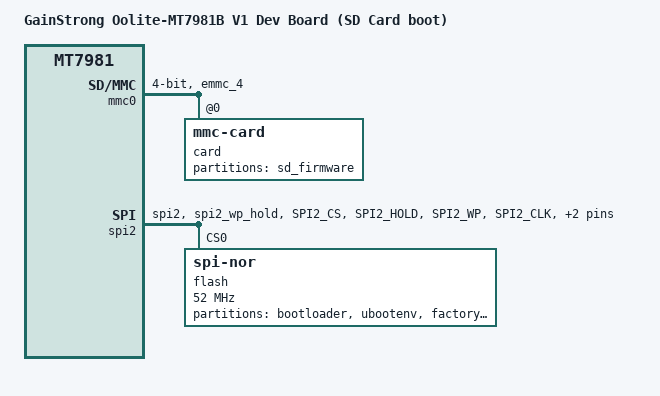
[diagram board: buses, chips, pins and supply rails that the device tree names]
/dts-v1/;

#include "mt7981b-gainstrong-oolite-mt7981b-v1.dtsi"
#include "mt7981b-gainstrong-oolite-mt7981b-v1-mmc.dtsi"
#include "mt7981b-gainstrong-oolite-mt7981b-v1-dev-board.dtsi"

/ {
	model = "GainStrong Oolite-MT7981B V1 Dev Board (SD Card boot)";
	compatible = "gainstrong,oolite-mt7981b-v1-dev-board-sdcard-boot", "mediatek,mt7981";
};

&pio {
	mmc0_pins_sd: mmc0-pins-sd {
		mux {
			groups = "emmc_4";
			function = "flash";
		};
	};

	/* Keep SPI-NOR enabled for SD boot so the running SD system can provision NOR. */
	spi2_flash_pins: spi2-pins {
		mux {
			function = "spi";
			groups = "spi2", "spi2_wp_hold";
		};

		conf-pu {
			pins = "SPI2_CS", "SPI2_HOLD", "SPI2_WP";
			drive-strength = <MTK_DRIVE_8mA>;
			bias-pull-up = <MTK_PUPD_SET_R1R0_11>;
		};

		conf-pd {
			pins = "SPI2_CLK", "SPI2_MOSI", "SPI2_MISO";
			drive-strength = <MTK_DRIVE_8mA>;
			bias-pull-down = <MTK_PUPD_SET_R1R0_11>;
		};
	};
};

&mmc0 {
	pinctrl-names = "default", "state_uhs";
	pinctrl-0 = <&mmc0_pins_sd>;
	pinctrl-1 = <&mmc0_pins_sd>;
	bus-width = <4>;
	cap-sd-highspeed;
	/delete-property/ non-removable;
	/delete-property/ cap-mmc-highspeed;
	broken-cd;
	no-mmc;
	no-sdio;
	#address-cells = <1>;
	#size-cells = <0>;

	card@0 {
		compatible = "mmc-card";
		reg = <0>;

		block {
			compatible = "block-device";
			partitions {
				sd_firmware: block-partition-firmware {
					partname = "firmware";
				};
			};
		};
	};
};

&chosen {
	bootargs-append = " root=/dev/fit0 rootwait";
	rootdisk-sd = <&sd_firmware>;
};

&spi2 {
	#address-cells = <1>;
	#size-cells = <0>;
	pinctrl-names = "default";
	pinctrl-0 = <&spi2_flash_pins>;
	status = "okay";

	flash@0 {
		compatible = "jedec,spi-nor";
		reg = <0>;
		spi-max-frequency = <52000000>;

		partitions {
			compatible = "fixed-partitions";
			#address-cells = <1>;
			#size-cells = <1>;

			partition@0 {
				label = "bootloader";
				reg = <0x0 0x160000>;
			};

			partition@160000 {
				label = "ubootenv";
				reg = <0x160000 0x10000>;
			};

			partition@170000 {
				label = "factory";
				reg = <0x170000 0x10000>;
			};

			partition@180000 {
				label = "firmware";
				reg = <0x180000 0x0>;
			};

			/* Raw access to the whole SPI-NOR for maintenance operations. */
			nor-all {
				label = "nor-all";
				reg = <0x0 0x0>;
			};
		};
	};
};
